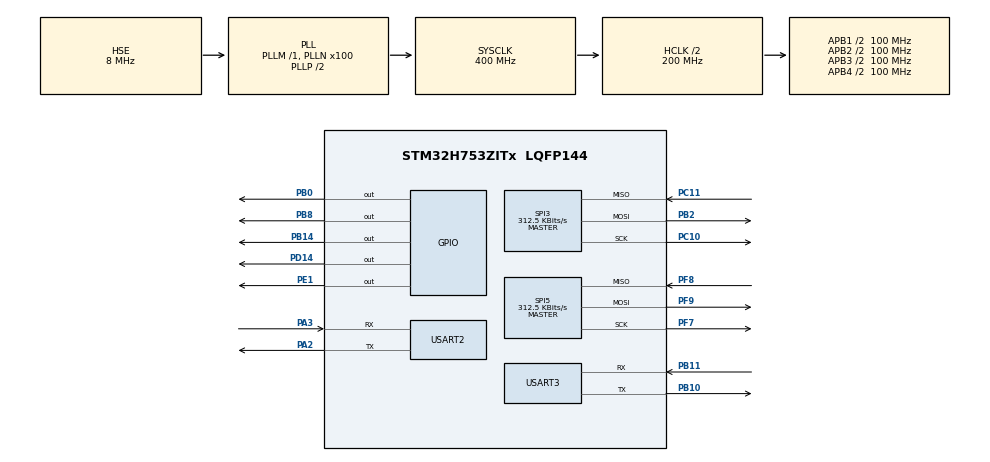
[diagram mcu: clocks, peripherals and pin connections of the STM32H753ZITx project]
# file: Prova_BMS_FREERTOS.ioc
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CORTEX_M7.default_mode_Activation=1
FREERTOS.Queues01=myQueue01,16,uint16_t,0,Dynamic,NULL,NULL
FREERTOS.Tasks01=defaultTask,24,128,StartDefaultTask,Default,NULL,Dynamic,NULL,NULL
FREERTOS.configUSE_NEWLIB_REENTRANT=1
Mcu.Family=STM32H7
Mcu.Name=STM32H753ZITx
Mcu.Package=LQFP144
NVIC.PriorityGroup=NVIC_PRIORITYGROUP_4
NVIC.SPI3_IRQn=true\:5\:0\:false\:false\:true\:true\:true\:true\:true
NVIC.SPI5_IRQn=true\:5\:0\:false\:false\:true\:true\:true\:true\:true
NVIC.TIM1_UP_IRQn=true\:15\:0\:false\:false\:true\:false\:false\:true\:true
NVIC.TimeBase=TIM1_UP_IRQn
NVIC.TimeBaseIP=TIM1
NVIC.USART2_IRQn=true\:5\:0\:false\:false\:true\:true\:true\:true\:true
NVIC.USART3_IRQn=true\:5\:0\:false\:false\:true\:true\:true\:true\:true
PA2.Mode=Asynchronous
PA2.PinAttribute=Free
PA2.Signal=USART2_TX
PA3.Mode=Asynchronous
PA3.PinAttribute=Free
PA3.Signal=USART2_RX
PB0.PinAttribute=Free
PB0.Signal=GPIO_Output
PB10.Mode=Asynchronous
PB10.PinAttribute=Free
PB10.Signal=USART3_TX
PB11.Mode=Asynchronous
PB11.PinAttribute=Free
PB11.Signal=USART3_RX
PB14.PinAttribute=Free
PB14.Signal=GPIO_Output
PB2.Mode=Full_Duplex_Master
PB2.PinAttribute=Free
PB2.Signal=SPI3_MOSI
PB8.PinAttribute=Free
PB8.PinState=GPIO_PIN_SET
PB8.Signal=GPIO_Output
PC10.Mode=Full_Duplex_Master
PC10.PinAttribute=Free
PC10.Signal=SPI3_SCK
PC11.Mode=Full_Duplex_Master
PC11.PinAttribute=Free
PC11.Signal=SPI3_MISO
PD14.PinAttribute=Free
PD14.PinState=GPIO_PIN_SET
PD14.Signal=GPIO_Output
PE1.PinAttribute=Free
PE1.Signal=GPIO_Output
PF7.Mode=Full_Duplex_Master
PF7.PinAttribute=Free
PF7.Signal=SPI5_SCK
PF8.Mode=Full_Duplex_Master
PF8.PinAttribute=Free
PF8.Signal=SPI5_MISO
PF9.Mode=Full_Duplex_Master
PF9.PinAttribute=Free
PF9.Signal=SPI5_MOSI
PH0-OSC_IN\ (PH0).Mode=HSE-External-Oscillator
PH0-OSC_IN\ (PH0).PinAttribute=Free
PH0-OSC_IN\ (PH0).Signal=RCC_OSC_IN
PH1-OSC_OUT\ (PH1).Mode=HSE-External-Oscillator
PH1-OSC_OUT\ (PH1).PinAttribute=Free
PH1-OSC_OUT\ (PH1).Signal=RCC_OSC_OUT
ProjectManager.HeapSize=0x200
ProjectManager.StackSize=0x400
ProjectManager.TargetToolchain=STM32CubeIDE
RCC.ADCFreq_Value=10000000
RCC.APB1Freq_Value=100000000
RCC.APB2Freq_Value=100000000
RCC.APB3Freq_Value=100000000
RCC.APB4Freq_Value=100000000
RCC.CortexFreq_Value=400000000
RCC.D1PPRE=RCC_APB3_DIV2
RCC.D2PPRE1=RCC_APB1_DIV2
RCC.D2PPRE2=RCC_APB2_DIV2
RCC.D3PPRE=RCC_APB4_DIV2
RCC.DIVM1=1
RCC.DIVM2=1
RCC.DIVM3=1
RCC.DIVN1=100
RCC.DIVN2=18
RCC.DIVN3=20
RCC.DIVP2=15
RCC.DIVQ1=4
RCC.DIVQ2=15
RCC.HCLKFreq_Value=200000000
RCC.HPRE=RCC_HCLK_DIV2
RCC.HSE_VALUE=8000000
RCC.PLL2FRACN=6144
RCC.PLL3FRACN=0
RCC.PLLFRACN=0
RCC.PLLSourceVirtual=RCC_PLLSOURCE_HSE
RCC.SPI123CLockSelection=RCC_SPI123CLKSOURCE_PLL2
RCC.SYSCLKFreq_VALUE=400000000
RCC.SYSCLKSource=RCC_SYSCLKSOURCE_PLLCLK
RCC.Spi45ClockSelection=RCC_SPI45CLKSOURCE_PLL2
RCC.USBFreq_Value=200000000
SPI3.BaudRatePrescaler=SPI_BAUDRATEPRESCALER_32
SPI3.CalculateBaudRate=312.5 KBits/s
SPI3.DataSize=SPI_DATASIZE_8BIT
SPI3.Direction=SPI_DIRECTION_2LINES
SPI3.Mode=SPI_MODE_MASTER
SPI3.VirtualType=VM_MASTER
SPI5.BaudRatePrescaler=SPI_BAUDRATEPRESCALER_32
SPI5.CalculateBaudRate=312.5 KBits/s
SPI5.DataSize=SPI_DATASIZE_8BIT
SPI5.Direction=SPI_DIRECTION_2LINES
SPI5.Mode=SPI_MODE_MASTER
SPI5.VirtualType=VM_MASTER
USART2.VirtualMode-Asynchronous=VM_ASYNC
USART3.VirtualMode-Asynchronous=VM_ASYNC
VP_FREERTOS_VS_CMSIS_V2.Mode=CMSIS_V2
VP_MEMORYMAP_VS_MEMORYMAP.Mode=CurAppReg
VP_SYS_VS_tim1.Mode=TIM1
board=custom

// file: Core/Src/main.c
/* USER CODE BEGIN Header */
/**
  ******************************************************************************
  * @file           : main.c
  * @brief          : Main program body
  ******************************************************************************
  * @attention
  *
  * Copyright (c) 2025 STMicroelectronics.
  * All rights reserved.
  *
  * This software is licensed under terms that can be found in the LICENSE file
  * in the root directory of this software component.
  * If no LICENSE file comes with this software, it is provided AS-IS.
  *
  ******************************************************************************
  */
/* USER CODE END Header */
#include "main.h"
#include "cmsis_os.h"

/* USER CODE BEGIN Includes */
#include "FreeRTOS.h"
#include "cmsis_os2.h"
#include "stdlib.h"
#include "stdio.h"
#include "string.h"
#include "stdbool.h"
#include "Comunicazione_Stack.h"
#include "Comunicazione_UART.h"
#include "global.h"
#include "funzioni_SOC.h"
#include "Tasks_freertos.h"
/* USER CODE END Includes */

SPI_HandleTypeDef hspi3;
SPI_HandleTypeDef hspi5;

UART_HandleTypeDef huart2; // uart di debug
UART_HandleTypeDef huart3;

/* Definitions for defaultTask */
osThreadId_t defaultTaskHandle;
const osThreadAttr_t defaultTask_attributes = {
  .name = "defaultTask",
  .stack_size = 128 * 4,
  .priority = (osPriority_t) osPriorityNormal,
};
/* Definitions for myQueue01 */
osMessageQueueId_t myQueue01Handle;
const osMessageQueueAttr_t myQueue01_attributes = {
  .name = "myQueue01"
};

void SystemClock_Config(void);
void PeriphCommonClock_Config(void);
static void MPU_Config(void);
static void MX_GPIO_Init(void);
static void MX_SPI3_Init(void);
static void MX_SPI5_Init(void);
static void MX_USART2_UART_Init(void);
static void MX_USART3_UART_Init(void);
void StartDefaultTask(void *argument);

int main(void)
{

  /* MPU Configuration--------------------------------------------------------*/
  MPU_Config();

  /* MCU Configuration--------------------------------------------------------*/

  /* Reset of all peripherals, Initializes the Flash interface and the Systick. */
  HAL_Init();

  /* Configure the system clock */
  SystemClock_Config();

  /* Configure the peripherals common clocks */
  PeriphCommonClock_Config();

  /* Initialize all configured peripherals */
  MX_GPIO_Init();
  MX_SPI3_Init();
  MX_SPI5_Init();
  MX_USART2_UART_Init();
  MX_USART3_UART_Init();
  /* USER CODE BEGIN 2 */
  HAL_SPI_RegisterCallback(&hspi3, HAL_SPI_TX_COMPLETE_CB_ID, SPITXCompleteCallback);
  HAL_SPI_RegisterCallback(&hspi3, HAL_SPI_RX_COMPLETE_CB_ID, SPIRXCompleteCallback);
  HAL_UART_RegisterCallback(&huart3, HAL_UART_TX_COMPLETE_CB_ID, UARTCompleteCallback);
  HAL_UART_RegisterCallback(&huart3, HAL_UART_RX_COMPLETE_CB_ID, UARTRXCompleteCallback);
  /* USER CODE END 2 */

  /* Init scheduler */
  osKernelInitialize();

  /* Create the queue(s) */
  /* creation of myQueue01 */
  myQueue01Handle = osMessageQueueNew (16, sizeof(uint16_t), &myQueue01_attributes);

  /* Create the thread(s) */
  /* creation of defaultTask */
  defaultTaskHandle = osThreadNew(StartDefaultTask, NULL, &defaultTask_attributes);

  /* USER CODE BEGIN RTOS_THREADS */
  /* add threads, ... */
  StartTasks();
  /* USER CODE END RTOS_THREADS */

  /* Start scheduler */
  osKernelStart();

  /* We should never get here as control is now taken by the scheduler */

  /* Infinite loop */
  while (1)
  {

  }
}

void SystemClock_Config(void)
{
  RCC_OscInitTypeDef RCC_OscInitStruct = {0};
  RCC_ClkInitTypeDef RCC_ClkInitStruct = {0};

  /** Supply configuration update enable
  */
  HAL_PWREx_ConfigSupply(PWR_LDO_SUPPLY);

  /** Configure the main internal regulator output voltage
  */
  __HAL_PWR_VOLTAGESCALING_CONFIG(PWR_REGULATOR_VOLTAGE_SCALE1);

  while(!__HAL_PWR_GET_FLAG(PWR_FLAG_VOSRDY)) {}

  /** Initializes the RCC Oscillators according to the specified parameters
  * in the RCC_OscInitTypeDef structure.
  */
  RCC_OscInitStruct.OscillatorType = RCC_OSCILLATORTYPE_HSE;
  RCC_OscInitStruct.HSEState = RCC_HSE_ON;
  RCC_OscInitStruct.PLL.PLLState = RCC_PLL_ON;
  RCC_OscInitStruct.PLL.PLLSource = RCC_PLLSOURCE_HSE;
  RCC_OscInitStruct.PLL.PLLM = 1;
  RCC_OscInitStruct.PLL.PLLN = 100;
  RCC_OscInitStruct.PLL.PLLP = 2;
  RCC_OscInitStruct.PLL.PLLQ = 4;
  RCC_OscInitStruct.PLL.PLLR = 2;
  RCC_OscInitStruct.PLL.PLLRGE = RCC_PLL1VCIRANGE_3;
  RCC_OscInitStruct.PLL.PLLVCOSEL = RCC_PLL1VCOWIDE;
  RCC_OscInitStruct.PLL.PLLFRACN = 0;
  if (HAL_RCC_OscConfig(&RCC_OscInitStruct) != HAL_OK)
  {
    Error_Handler();
  }

  /** Initializes the CPU, AHB and APB buses clocks
  */
  RCC_ClkInitStruct.ClockType = RCC_CLOCKTYPE_HCLK|RCC_CLOCKTYPE_SYSCLK
                              |RCC_CLOCKTYPE_PCLK1|RCC_CLOCKTYPE_PCLK2
                              |RCC_CLOCKTYPE_D3PCLK1|RCC_CLOCKTYPE_D1PCLK1;
  RCC_ClkInitStruct.SYSCLKSource = RCC_SYSCLKSOURCE_PLLCLK;
  RCC_ClkInitStruct.SYSCLKDivider = RCC_SYSCLK_DIV1;
  RCC_ClkInitStruct.AHBCLKDivider = RCC_HCLK_DIV2;
  RCC_ClkInitStruct.APB3CLKDivider = RCC_APB3_DIV2;
  RCC_ClkInitStruct.APB1CLKDivider = RCC_APB1_DIV2;
  RCC_ClkInitStruct.APB2CLKDivider = RCC_APB2_DIV2;
  RCC_ClkInitStruct.APB4CLKDivider = RCC_APB4_DIV2;

  if (HAL_RCC_ClockConfig(&RCC_ClkInitStruct, FLASH_LATENCY_2) != HAL_OK)
  {
    Error_Handler();
  }
}

void PeriphCommonClock_Config(void)
{
  RCC_PeriphCLKInitTypeDef PeriphClkInitStruct = {0};

  /** Initializes the peripherals clock
  */
  PeriphClkInitStruct.PeriphClockSelection = RCC_PERIPHCLK_SPI3|RCC_PERIPHCLK_SPI5;
  PeriphClkInitStruct.PLL2.PLL2M = 1;
  PeriphClkInitStruct.PLL2.PLL2N = 18;
  PeriphClkInitStruct.PLL2.PLL2P = 15;
  PeriphClkInitStruct.PLL2.PLL2Q = 15;
  PeriphClkInitStruct.PLL2.PLL2R = 2;
  PeriphClkInitStruct.PLL2.PLL2RGE = RCC_PLL2VCIRANGE_3;
  PeriphClkInitStruct.PLL2.PLL2VCOSEL = RCC_PLL2VCOMEDIUM;
  PeriphClkInitStruct.PLL2.PLL2FRACN = 6144;
  PeriphClkInitStruct.Spi123ClockSelection = RCC_SPI123CLKSOURCE_PLL2;
  PeriphClkInitStruct.Spi45ClockSelection = RCC_SPI45CLKSOURCE_PLL2;
  if (HAL_RCCEx_PeriphCLKConfig(&PeriphClkInitStruct) != HAL_OK)
  {
    Error_Handler();
  }
}

static void MX_SPI3_Init(void)
{

  /* SPI3 parameter configuration*/
  hspi3.Instance = SPI3;
  hspi3.Init.Mode = SPI_MODE_MASTER;
  hspi3.Init.Direction = SPI_DIRECTION_2LINES;
  hspi3.Init.DataSize = SPI_DATASIZE_8BIT;
  hspi3.Init.CLKPolarity = SPI_POLARITY_LOW;
  hspi3.Init.CLKPhase = SPI_PHASE_1EDGE;
  hspi3.Init.NSS = SPI_NSS_SOFT;
  hspi3.Init.BaudRatePrescaler = SPI_BAUDRATEPRESCALER_32;
  hspi3.Init.FirstBit = SPI_FIRSTBIT_MSB;
  hspi3.Init.TIMode = SPI_TIMODE_DISABLE;
  hspi3.Init.CRCCalculation = SPI_CRCCALCULATION_DISABLE;
  hspi3.Init.CRCPolynomial = 0x0;
  hspi3.Init.NSSPMode = SPI_NSS_PULSE_ENABLE;
  hspi3.Init.NSSPolarity = SPI_NSS_POLARITY_LOW;
  hspi3.Init.FifoThreshold = SPI_FIFO_THRESHOLD_01DATA;
  hspi3.Init.TxCRCInitializationPattern = SPI_CRC_INITIALIZATION_ALL_ZERO_PATTERN;
  hspi3.Init.RxCRCInitializationPattern = SPI_CRC_INITIALIZATION_ALL_ZERO_PATTERN;
  hspi3.Init.MasterSSIdleness = SPI_MASTER_SS_IDLENESS_00CYCLE;
  hspi3.Init.MasterInterDataIdleness = SPI_MASTER_INTERDATA_IDLENESS_00CYCLE;
  hspi3.Init.MasterReceiverAutoSusp = SPI_MASTER_RX_AUTOSUSP_DISABLE;
  hspi3.Init.MasterKeepIOState = SPI_MASTER_KEEP_IO_STATE_DISABLE;
  hspi3.Init.IOSwap = SPI_IO_SWAP_DISABLE;
  if (HAL_SPI_Init(&hspi3) != HAL_OK)
  {
    Error_Handler();
  }

}

static void MX_SPI5_Init(void)
{

  /* SPI5 parameter configuration*/
  hspi5.Instance = SPI5;
  hspi5.Init.Mode = SPI_MODE_MASTER;
  hspi5.Init.Direction = SPI_DIRECTION_2LINES;
  hspi5.Init.DataSize = SPI_DATASIZE_8BIT;
  hspi5.Init.CLKPolarity = SPI_POLARITY_LOW;
  hspi5.Init.CLKPhase = SPI_PHASE_1EDGE;
  hspi5.Init.NSS = SPI_NSS_SOFT;
  hspi5.Init.BaudRatePrescaler = SPI_BAUDRATEPRESCALER_32;
  hspi5.Init.FirstBit = SPI_FIRSTBIT_MSB;
  hspi5.Init.TIMode = SPI_TIMODE_DISABLE;
  hspi5.Init.CRCCalculation = SPI_CRCCALCULATION_DISABLE;
  hspi5.Init.CRCPolynomial = 0x0;
  hspi5.Init.NSSPMode = SPI_NSS_PULSE_ENABLE;
  hspi5.Init.NSSPolarity = SPI_NSS_POLARITY_LOW;
  hspi5.Init.FifoThreshold = SPI_FIFO_THRESHOLD_01DATA;
  hspi5.Init.TxCRCInitializationPattern = SPI_CRC_INITIALIZATION_ALL_ZERO_PATTERN;
  hspi5.Init.RxCRCInitializationPattern = SPI_CRC_INITIALIZATION_ALL_ZERO_PATTERN;
  hspi5.Init.MasterSSIdleness = SPI_MASTER_SS_IDLENESS_00CYCLE;
  hspi5.Init.MasterInterDataIdleness = SPI_MASTER_INTERDATA_IDLENESS_00CYCLE;
  hspi5.Init.MasterReceiverAutoSusp = SPI_MASTER_RX_AUTOSUSP_DISABLE;
  hspi5.Init.MasterKeepIOState = SPI_MASTER_KEEP_IO_STATE_DISABLE;
  hspi5.Init.IOSwap = SPI_IO_SWAP_DISABLE;
  if (HAL_SPI_Init(&hspi5) != HAL_OK)
  {
    Error_Handler();
  }

}

static void MX_USART2_UART_Init(void)
{

  huart2.Instance = USART2;
  huart2.Init.BaudRate = 115200;
  huart2.Init.WordLength = UART_WORDLENGTH_8B;
  huart2.Init.StopBits = UART_STOPBITS_1;
  huart2.Init.Parity = UART_PARITY_NONE;
  huart2.Init.Mode = UART_MODE_TX_RX;
  huart2.Init.HwFlowCtl = UART_HWCONTROL_NONE;
  huart2.Init.OverSampling = UART_OVERSAMPLING_16;
  huart2.Init.OneBitSampling = UART_ONE_BIT_SAMPLE_DISABLE;
  huart2.Init.ClockPrescaler = UART_PRESCALER_DIV1;
  huart2.AdvancedInit.AdvFeatureInit = UART_ADVFEATURE_NO_INIT;
  if (HAL_UART_Init(&huart2) != HAL_OK)
  {
    Error_Handler();
  }
  if (HAL_UARTEx_SetTxFifoThreshold(&huart2, UART_TXFIFO_THRESHOLD_1_8) != HAL_OK)
  {
    Error_Handler();
  }
  if (HAL_UARTEx_SetRxFifoThreshold(&huart2, UART_RXFIFO_THRESHOLD_1_8) != HAL_OK)
  {
    Error_Handler();
  }
  if (HAL_UARTEx_DisableFifoMode(&huart2) != HAL_OK)
  {
    Error_Handler();
  }

}

static void MX_USART3_UART_Init(void)
{

  huart3.Instance = USART3;
  huart3.Init.BaudRate = 115200;
  huart3.Init.WordLength = UART_WORDLENGTH_8B;
  huart3.Init.StopBits = UART_STOPBITS_1;
  huart3.Init.Parity = UART_PARITY_NONE;
  huart3.Init.Mode = UART_MODE_TX_RX;
  huart3.Init.HwFlowCtl = UART_HWCONTROL_NONE;
  huart3.Init.OverSampling = UART_OVERSAMPLING_16;
  huart3.Init.OneBitSampling = UART_ONE_BIT_SAMPLE_DISABLE;
  huart3.Init.ClockPrescaler = UART_PRESCALER_DIV1;
  huart3.AdvancedInit.AdvFeatureInit = UART_ADVFEATURE_NO_INIT;
  if (HAL_UART_Init(&huart3) != HAL_OK)
  {
    Error_Handler();
  }
  if (HAL_UARTEx_SetTxFifoThreshold(&huart3, UART_TXFIFO_THRESHOLD_1_8) != HAL_OK)
  {
    Error_Handler();
  }
  if (HAL_UARTEx_SetRxFifoThreshold(&huart3, UART_RXFIFO_THRESHOLD_1_8) != HAL_OK)
  {
    Error_Handler();
  }
  if (HAL_UARTEx_DisableFifoMode(&huart3) != HAL_OK)
  {
    Error_Handler();
  }

}

static void MX_GPIO_Init(void)
{
  GPIO_InitTypeDef GPIO_InitStruct = {0};

  /* GPIO Ports Clock Enable */
  __HAL_RCC_GPIOF_CLK_ENABLE();
  __HAL_RCC_GPIOH_CLK_ENABLE();
  __HAL_RCC_GPIOA_CLK_ENABLE();
  __HAL_RCC_GPIOB_CLK_ENABLE();
  __HAL_RCC_GPIOD_CLK_ENABLE();
  __HAL_RCC_GPIOC_CLK_ENABLE();
  __HAL_RCC_GPIOE_CLK_ENABLE();

  /*Configure GPIO pin Output Level */
  HAL_GPIO_WritePin(GPIOB, GPIO_PIN_0|GPIO_PIN_14, GPIO_PIN_RESET);

  /*Configure GPIO pin Output Level */
  HAL_GPIO_WritePin(GPIOD, GPIO_PIN_14, GPIO_PIN_SET);

  /*Configure GPIO pin Output Level */
  HAL_GPIO_WritePin(GPIOB, GPIO_PIN_8, GPIO_PIN_SET);

  /*Configure GPIO pin Output Level */
  HAL_GPIO_WritePin(GPIOE, GPIO_PIN_1, GPIO_PIN_RESET);

  /*Configure GPIO pins : PB0 PB14 PB8 */
  GPIO_InitStruct.Pin = GPIO_PIN_0|GPIO_PIN_14|GPIO_PIN_8;
  GPIO_InitStruct.Mode = GPIO_MODE_OUTPUT_PP;
  GPIO_InitStruct.Pull = GPIO_NOPULL;
  GPIO_InitStruct.Speed = GPIO_SPEED_FREQ_LOW;
  HAL_GPIO_Init(GPIOB, &GPIO_InitStruct);

  /*Configure GPIO pin : PD14 */
  GPIO_InitStruct.Pin = GPIO_PIN_14;
  GPIO_InitStruct.Mode = GPIO_MODE_OUTPUT_PP;
  GPIO_InitStruct.Pull = GPIO_NOPULL;
  GPIO_InitStruct.Speed = GPIO_SPEED_FREQ_LOW;
  HAL_GPIO_Init(GPIOD, &GPIO_InitStruct);

  /*Configure GPIO pin : PE1 */
  GPIO_InitStruct.Pin = GPIO_PIN_1;
  GPIO_InitStruct.Mode = GPIO_MODE_OUTPUT_PP;
  GPIO_InitStruct.Pull = GPIO_NOPULL;
  GPIO_InitStruct.Speed = GPIO_SPEED_FREQ_LOW;
  HAL_GPIO_Init(GPIOE, &GPIO_InitStruct);

}

void StartDefaultTask(void *argument)
{
  for(;;)
  {
    osDelay(1);
  }
}

 /* MPU Configuration */

void MPU_Config(void)
{
  MPU_Region_InitTypeDef MPU_InitStruct = {0};

  /* Disables the MPU */
  HAL_MPU_Disable();

  /** Initializes and configures the Region and the memory to be protected
  */
  MPU_InitStruct.Enable = MPU_REGION_ENABLE;
  MPU_InitStruct.Number = MPU_REGION_NUMBER0;
  MPU_InitStruct.BaseAddress = 0x0;
  MPU_InitStruct.Size = MPU_REGION_SIZE_4GB;
  MPU_InitStruct.SubRegionDisable = 0x87;
  MPU_InitStruct.TypeExtField = MPU_TEX_LEVEL0;
  MPU_InitStruct.AccessPermission = MPU_REGION_NO_ACCESS;
  MPU_InitStruct.DisableExec = MPU_INSTRUCTION_ACCESS_DISABLE;
  MPU_InitStruct.IsShareable = MPU_ACCESS_SHAREABLE;
  MPU_InitStruct.IsCacheable = MPU_ACCESS_NOT_CACHEABLE;
  MPU_InitStruct.IsBufferable = MPU_ACCESS_NOT_BUFFERABLE;

  HAL_MPU_ConfigRegion(&MPU_InitStruct);
  /* Enables the MPU */
  HAL_MPU_Enable(MPU_PRIVILEGED_DEFAULT);

}

void HAL_TIM_PeriodElapsedCallback(TIM_HandleTypeDef *htim)
{
  if (htim->Instance == TIM1)
  {
    HAL_IncTick();
  }
}

void Error_Handler(void)
{
  __disable_irq();
  while (1)
  {
  }
}
